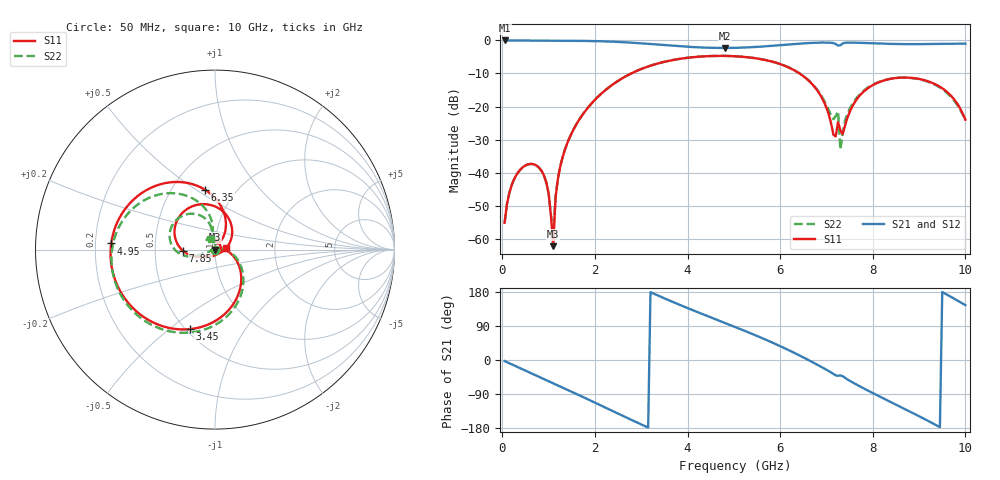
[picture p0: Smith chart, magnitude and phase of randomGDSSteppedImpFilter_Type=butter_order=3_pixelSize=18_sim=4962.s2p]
! freq	dB(S11)	phase(S11)	dB(S12)	phase(S12)
!  dB(S21)	phase(S21)	dB(S22)	phase(S22)
!S-par simulation data
#  GHz  S  DB  R 50
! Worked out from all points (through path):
!   200 points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, 50 MHz to 10 GHz, reference 50 ohm
!   highest |S21| = -0.01 dB at 50 MHz (marker M1); lowest = -2.3 dB at 4.8 GHz (marker M2)
!   group delay of S21, straight-line fit = 156 ps
!   lowest |S11| = -62.3 dB at 1.1 GHz (marker M3), VSWR 1.00, Z = 50.1 + j0.0503 ohm
!   |S11| at or under -10 dB: start of sweep to 2.784 GHz; 6.418 GHz to end of sweep
!   |S22| runs from -58.2 to -4.7 dB; largest |S21 - S12| = 0
!   S11 on the Smith chart (normalised r, x): 50 MHz: 1.00, -0.00; 3.45 GHz: 0.52, -0.59; 4.95 GHz: 0.27, +0.03; 6.35 GHz: 0.72, +0.54; 7.85 GHz: 0.70, -0.01; 10 GHz: 1.13, +0.02
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0.05  -55.21 -76.8  -0.01 -2.8  -0.01 -2.8  -55.19 -76.9
0.25  -42.18 -101.2  -0.02 -13.9  -0.02 -13.9  -42.19 -101.1
0.7  -37.59 -129.4  -0.05 -39.0  -0.05 -39.0  -37.61 -129.8
0.95  -42.95 -144.5  -0.06 -52.9  -0.06 -52.9  -43.00 -147.6
1.1  -62.28 40.8  -0.07 -61.3  -0.07 -61.3  -58.16 80.8
1.15  -47.61 26.2  -0.07 -64.1  -0.07 -64.1  -47.25 37.9
1.25  -38.28 19.4  -0.08 -69.7  -0.08 -69.7  -38.18 25.2
1.75  -22.16 -10.0  -0.14 -98.1  -0.14 -98.1  -22.14 -6.5
3.4  -6.82 -105.1  -1.30 168.1  -1.30 168.1  -6.81 -99.5
3.45  -6.64 -107.8  -1.36 165.4  -1.36 165.4  -6.63 -102.1
4.8  -4.68 -176.0  -2.27 98.1  -2.27 98.1  -4.67 -166.8
4.95  -4.74 176.6  -2.25 90.9  -2.25 90.9  -4.73 -173.7
5.05  -4.81 171.6  -2.23 86.0  -2.23 86.0  -4.80 -178.3
6.35  -9.40 99.6  -1.04 16.1  -1.04 16.1  -9.36 118.1
6.7  -13.37 77.0  -0.74 -5.8  -0.74 -5.8  -13.25 101.5
7.15  -28.53 66.0  -0.81 -36.8  -0.81 -36.8  -23.81 119.6
7.25  -24.75 74.7  -1.54 -41.8  -1.54 -41.8  -21.45 114.1
7.3  -27.18 -14.3  -1.47 -40.6  -1.47 -40.6  -33.05 68.6
7.85  -14.93 -178.0  -0.78 -77.8  -0.78 -77.8  -14.70 -170.5
8.35  -11.72 148.3  -1.03 -108.6  -1.03 -108.6  -11.67 165.4
9.25  -12.66 85.8  -1.08 -164.2  -1.08 -164.2  -12.83 119.5
10  -24.00 7.3  -0.99 144.8  -0.99 144.8  -23.94 110.2
